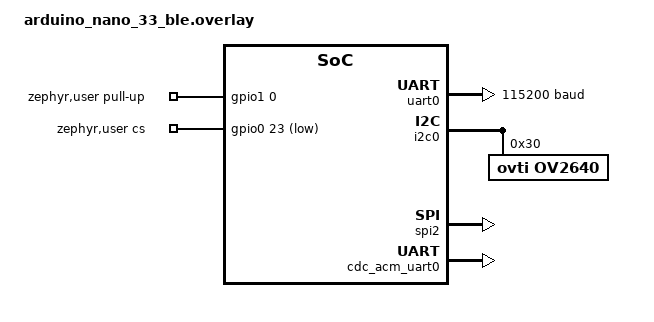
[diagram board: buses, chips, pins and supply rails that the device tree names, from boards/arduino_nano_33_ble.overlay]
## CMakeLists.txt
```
# License: Apache-2.0

cmake_minimum_required(VERSION 3.20.0)
find_package(Zephyr REQUIRED HINTS $ENV{ZEPHYR_BASE})
project(digit_recognizer)

# These samples use local static initialization. Since Zephyr doesn't support the
# C++ ABI for thread-safe initialization of local statics and the constructors don't
# appear to require thread safety, we turn it off in the C++ compiler.
set(NO_THREADSAFE_STATICS $<TARGET_PROPERTY:compiler-cpp,no_threadsafe_statics>)
zephyr_compile_options($<$<COMPILE_LANGUAGE:CXX>:${NO_THREADSAFE_STATICS}>)

# Headers
include_directories(include)

# Source files
file(GLOB_RECURSE app_sources
    src/*.c
    src/*.cpp
)

target_sources(app PRIVATE ${app_sources})
```

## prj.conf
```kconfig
# License: Apache-2.0

CONFIG_CPLUSPLUS=y
CONFIG_LIB_CPLUSPLUS=y
CONFIG_NEWLIB_LIBC=y

CONFIG_TENSORFLOW_LITE_MICRO=y
CONFIG_MAIN_STACK_SIZE=2048

CONFIG_USB_DEVICE_STACK=y
CONFIG_USB_DEVICE_PRODUCT="Zephyr"

CONFIG_SERIAL=y
CONFIG_CONSOLE=y
CONFIG_UART_CONSOLE=y
CONFIG_UART_LINE_CTRL=y
CONFIG_GPIO=y
CONFIG_I2C=y
CONFIG_VIDEO=y
CONFIG_SPI=y
CONFIG_VIDEO_OV2640=y
```

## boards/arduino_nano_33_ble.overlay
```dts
/*
 * Copyright (c) 2019, Linaro Ltd.
 *
 * SPDX-License-Identifier: Apache-2.0
 */
/{
	zephyr,user {
		/* I2C pull-ups are connected to VDD via pin voltage level */
		pull-up-gpios = <&gpio1 0 GPIO_ACTIVE_HIGH>;
		cs-gpios = <&gpio0 23 GPIO_ACTIVE_LOW>;
	};
	chosen {
		zephyr,console = &cdc_acm_uart0;
	};
};

&uart0 {
	compatible = "nordic,nrf-uarte";
	current-speed = <115200>;
	status = "okay";
	pinctrl-0 = <&uart0_default>;
	pinctrl-1 = <&uart0_sleep>;
	pinctrl-names = "default", "sleep";
};

&i2c0 {
	compatible = "nordic,nrf-twi";
	status = "okay";

	ov2640@30 {
		compatible = "ovti,ov2640";
		reg = <0x30>;
		label = "OV2640";
	};
};

arduino_spi: &spi2 {
	compatible = "nordic,nrf-spi";
	status = "okay";
	label = "SPI2";
	pinctrl-0 = <&spi2_default>;
	pinctrl-1 = <&spi2_sleep>;
	pinctrl-names = "default", "sleep";
};

&zephyr_udc0 {
	cdc_acm_uart0: cdc_acm_uart0 {
		compatible = "zephyr,cdc-acm-uart";
		label = "CDC_ACM_0";
	};
};
```

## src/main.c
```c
/*
 * Licensed under the Apache License, Version 2.0 (the "License");
 * you may not use this file except in compliance with the License.
 * You may obtain a copy of the License at
 *
 *     http://www.apache.org/licenses/LICENSE-2.0
 *
 * Unless required by applicable law or agreed to in writing, software
 * distributed under the License is distributed on an "AS IS" BASIS,
 * WITHOUT WARRANTIES OR CONDITIONS OF ANY KIND, either express or implied.
 * See the License for the specific language governing permissions and
 * limitations under the License.
 */

#include "main_functions.h"

/* This is the default main used on systems that have the standard C entry
 * point. Other devices (for example FreeRTOS or ESP32) that have different
 * requirements for entry code (like an app_main function) should specialize
 * this main.cc file in a target-specific subfolder.
 */
int main(int argc, char *argv[])
{
	/* Standard Arduino-compatible loop. */
	setup();
	while (1) {
		loop();
	}
	return 0;
}
```

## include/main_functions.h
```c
/*
 * Licensed under the Apache License, Version 2.0 (the "License");
 * you may not use this file except in compliance with the License.
 * You may obtain a copy of the License at
 *
 *     http://www.apache.org/licenses/LICENSE-2.0
 *
 * Unless required by applicable law or agreed to in writing, software
 * distributed under the License is distributed on an "AS IS" BASIS,
 * WITHOUT WARRANTIES OR CONDITIONS OF ANY KIND, either express or implied.
 * See the License for the specific language governing permissions and
 * limitations under the License.
 */

#ifndef DIGIT_RECOGNIZER_NANO_MAIN_FUNCTIONS_H_
#define DIGIT_RECOGNIZER_NANO_MAIN_FUNCTIONS_H_

/* Expose a C friendly interface for main functions. */
#ifdef __cplusplus
extern "C" {
#endif

/* Initializes all data needed for the example. The name is important, and needs
 * to be setup() for Arduino compatibility.
 */
void setup(void);

/* Runs one iteration of data gathering and inference. This should be called
 * repeatedly from the application code. The name needs to be loop() for Arduino
 * compatibility.
 */
void loop(void);

#ifdef __cplusplus
}
#endif

#endif /* DIGIT_RECOGNIZER_NANO_MAIN_FUNCTIONS_H_ */
```

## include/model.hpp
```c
/*
 * Copyright 2020 The TensorFlow Authors. All Rights Reserved.
 *
 * Licensed under the Apache License, Version 2.0 (the "License");
 * you may not use this file except in compliance with the License.
 * You may obtain a copy of the License at
 *
 *     http://www.apache.org/licenses/LICENSE-2.0
 *
 * Unless required by applicable law or agreed to in writing, software
 * distributed under the License is distributed on an "AS IS" BASIS,
 * WITHOUT WARRANTIES OR CONDITIONS OF ANY KIND, either express or implied.
 * See the License for the specific language governing permissions and
 * limitations under the License.
 */

/* Automatically created from a TensorFlow Lite flatbuffer using the command:
 * xxd -i model.tflite > model.cc
 *
 * This one was copied from the Jupyter Notebook provided with the sourcecode.
 */

#ifndef TENSORFLOW_LITE_MICRO_EXAMPLES_HELLO_WORLD_MODEL_H_
#define TENSORFLOW_LITE_MICRO_EXAMPLES_HELLO_WORLD_MODEL_H_

extern const unsigned char g_model[];
extern const int g_model_len;

#endif /* TENSORFLOW_LITE_MICRO_EXAMPLES_HELLO_WORLD_MODEL_H_ */
```

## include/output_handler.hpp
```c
/*
 * Licensed under the Apache License, Version 2.0 (the "License");
 * you may not use this file except in compliance with the License.
 * You may obtain a copy of the License at
 *
 *     http://www.apache.org/licenses/LICENSE-2.0
 *
 * Unless required by applicable law or agreed to in writing, software
 * distributed under the License is distributed on an "AS IS" BASIS,
 * WITHOUT WARRANTIES OR CONDITIONS OF ANY KIND, either express or implied.
 * See the License for the specific language governing permissions and
 * limitations under the License.
 */

#ifndef DIGIT_RECOGNIZER_NANO_OUTPUT_HANDLER_H_
#define DIGIT_RECOGNIZER_NANO_OUTPUT_HANDLER_H_

#include <tensorflow/lite/c/common.h>
#include <tensorflow/lite/micro/micro_error_reporter.h>

/* Called by the main loop to produce some output based on the x and y values */
void HandleOutput(tflite::ErrorReporter *error_reporter, float x_value, float y_value);

#endif /* DIGIT_RECOGNIZER_NANO_OUTPUT_HANDLER_H_ */
```

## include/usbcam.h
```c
/*
 * License: Apache-2.0.
 */

#ifndef DIGIT_RECOGNIZER_NANO_USBCAM_INTERFACE_H
#define DIGIT_RECOGNIZER_NANO_USBCAM_INTERFACE_H

#include <stddef.h>
#include <stdint.h>

#include <zephyr/device.h>
#include <zephyr/drivers/gpio.h>
#include <zephyr/drivers/spi.h>

#ifdef __cplusplus
extern "C" {
#endif

/* 1000 msec = 1 sec */
#define SLEEP_TIME_MS	 1000
#define ZEPHYR_USER_NODE DT_PATH(zephyr_user)
#define SPI_NODE	 DT_NODELABEL(spi2)

/* Capture JPEG image from camera into buffer.
 * Returns 0 on success, or negative error code.
 */
int capture_jpeg_frame(uint8_t *buffer, size_t max_size, size_t *actual_size);

#ifdef __cplusplus
}
#endif

#endif /* DIGIT_RECOGNIZER_NANO_USBCAM_INTERFACE_H */
```

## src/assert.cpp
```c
/*
 * Licensed under the Apache License, Version 2.0 (the "License");
 * you may not use this file except in compliance with the License.
 * You may obtain a copy of the License at
 *
 *     http://www.apache.org/licenses/LICENSE-2.0
 *
 * Unless required by applicable law or agreed to in writing, software
 * distributed under the License is distributed on an "AS IS" BASIS,
 * WITHOUT WARRANTIES OR CONDITIONS OF ANY KIND, either express or implied.
 * See the License for the specific language governing permissions and
 * limitations under the License.
 */

extern "C" {

void __assert_func(const char *, int, const char *, const char *) {}
}
```

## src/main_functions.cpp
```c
/*
 * Licensed under the Apache License, Version 2.0 (the "License");
 * you may not use this file except in compliance with the License.
 * You may obtain a copy of the License at
 *
 *     http://www.apache.org/licenses/LICENSE-2.0
 *
 * Unless required by applicable law or agreed to in writing, software
 * distributed under the License is distributed on an "AS IS" BASIS,
 * WITHOUT WARRANTIES OR CONDITIONS OF ANY KIND, either express or implied.
 * See the License for the specific language governing permissions and
 * limitations under the License.
 */

#include "main_functions.h"
#include "usbcam.h"

#include "model.hpp"
#include "output_handler.hpp"
#include <tensorflow/lite/micro/all_ops_resolver.h>
#include <tensorflow/lite/micro/micro_error_reporter.h>
#include <tensorflow/lite/micro/micro_interpreter.h>
#include <tensorflow/lite/micro/system_setup.h>
#include <tensorflow/lite/schema/schema_generated.h>

/* Globals, used for compatibility with Arduino-style sketches. */
namespace
{
tflite::ErrorReporter *error_reporter = nullptr;
const tflite::Model *model = nullptr;
tflite::MicroInterpreter *interpreter = nullptr;
TfLiteTensor *input = nullptr;
TfLiteTensor *output = nullptr;

// TODO: update to our model, check how much can NANO's RAM handle
constexpr int kTensorArenaSize = 2000;
uint8_t tensor_arena[kTensorArenaSize];
} /* namespace */

/* The name of this function is important for Arduino compatibility. */
void setup(void)
{
	/* Set up logging. Google style is to avoid globals or statics because of
	 * lifetime uncertainty, but since this has a trivial destructor it's okay.
	 * NOLINTNEXTLINE(runtime-global-variables)
	 */
	static tflite::MicroErrorReporter micro_error_reporter;

	error_reporter = &micro_error_reporter;

	/* Map the model into a usable data structure. This doesn't involve any
	 * copying or parsing, it's a very lightweight operation.
	 */
	model = tflite::GetModel(g_model);
	if (model->version() != TFLITE_SCHEMA_VERSION) {
		TF_LITE_REPORT_ERROR(error_reporter,
				     "Model provided is schema version %d not equal "
				     "to supported version %d.",
				     model->version(), TFLITE_SCHEMA_VERSION);
		return;
	}

	/* This pulls in all the operation implementations we need.
	 * NOLINTNEXTLINE(runtime-global-variables)
	 */
	static tflite::AllOpsResolver resolver;

	/* Build an interpreter to run the model with. */
	static tflite::MicroInterpreter static_interpreter(model, resolver, tensor_arena,
							   kTensorArenaSize, error_reporter);
	interpreter = &static_interpreter;

	/* Allocate memory from the tensor_arena for the model's tensors. */
	TfLiteStatus allocate_status = interpreter->AllocateTensors();
	if (allocate_status != kTfLiteOk) {
		TF_LITE_REPORT_ERROR(error_reporter, "AllocateTensors() failed");
		return;
	}

	/* Obtain pointers to the model's input and output tensors. */
	input = interpreter->input(0);
	output = interpreter->output(0);
}

/* The name of this function is important for Arduino compatibility. */
void loop(void)
{
	// TODO: get JPEG from the camera.

	// TODO: change quantization, change data to be usable with the NN.

	/* Quantize the input from floating-point to integer */
	int8_t x_quantized = x / input->params.scale + input->params.zero_point;
	/* Place the quantized input in the model's input tensor */
	input->data.int8[0] = x_quantized;

	/* Run inference, and report any error */
	TfLiteStatus invoke_status = interpreter->Invoke();
	if (invoke_status != kTfLiteOk) {
		TF_LITE_REPORT_ERROR(error_reporter, "Invoke failed on x: %f\n",
				     static_cast<double>(x));
		return;
	}

	/* Obtain the quantized output from model's output tensor */
	int8_t y_quantized = output->data.int8[0];
	/* Dequantize the output from integer to floating-point */
	float y = (y_quantized - output->params.zero_point) * output->params.scale;

	// TODO: get max value from softmax, output as int, change HandleOutput

	/* Output the results. A custom HandleOutput function can be implemented
	 * for each supported hardware target.
	 */
	HandleOutput(error_reporter, x, y);
}
```

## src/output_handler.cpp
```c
/*
 * Licensed under the Apache License, Version 2.0 (the "License");
 * you may not use this file except in compliance with the License.
 * You may obtain a copy of the License at
 *
 *     http://www.apache.org/licenses/LICENSE-2.0
 *
 * Unless required by applicable law or agreed to in writing, software
 * distributed under the License is distributed on an "AS IS" BASIS,
 * WITHOUT WARRANTIES OR CONDITIONS OF ANY KIND, either express or implied.
 * See the License for the specific language governing permissions and
 * limitations under the License.
 */

#include "output_handler.hpp"

void HandleOutput(tflite::ErrorReporter *error_reporter, float x_value, float y_value)
{
	/* Log the current X and Y values */
	TF_LITE_REPORT_ERROR(error_reporter, "x_value: %f, y_value: %f\n",
			     static_cast<double>(x_value), static_cast<double>(y_value));
}
```

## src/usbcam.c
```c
/*
 * Licensed under the Apache License, Version 2.0 (the "License");
 * you may not use this file except in compliance with the License.
 * You may obtain a copy of the License at
 *
 *     http://www.apache.org/licenses/LICENSE-2.0
 *
 * Unless required by applicable law or agreed to in writing, software
 * distributed under the License is distributed on an "AS IS" BASIS,
 * WITHOUT WARRANTIES OR CONDITIONS OF ANY KIND, either express or implied.
 * See the License for the specific language governing permissions and
 * limitations under the License.
 */

#include "usbcam.h"

#include <errno.h>

#include <zephyr/device.h>
#include <zephyr/devicetree.h>
#include <zephyr/drivers/gpio.h>
#include <zephyr/drivers/sensor.h>
#include <zephyr/drivers/spi.h>
#include <zephyr/drivers/uart.h>
#include <zephyr/drivers/video.h>
#include <zephyr/kernel.h>
#include <zephyr/usb/usb_device.h>

BUILD_ASSERT(DT_NODE_HAS_COMPAT(DT_CHOSEN(zephyr_console), zephyr_cdc_acm_uart),
	     "Console device is not ACM CDC UART device");

static const struct gpio_dt_spec cs_gpio = GPIO_DT_SPEC_GET(ZEPHYR_USER_NODE, cs_gpios);

static uint8_t data;

static int write_bytes(const struct device *spi, struct spi_config *spi_cfg, uint8_t addr,
		       uint8_t *data, uint32_t num_bytes)
{
	uint8_t cmd[] = {addr | 0x80, *data};
	const struct spi_buf tx_buf = {.buf = cmd, .len = sizeof(cmd)};
	const struct spi_buf_set tx = {.buffers = &tx_buf, .count = 1};

	return spi_write(spi, spi_cfg, &tx);
}

static int read_bytes(const struct device *spi, struct spi_config *spi_cfg, uint8_t addr,
		      uint8_t *data, uint32_t num_bytes)
{
	const struct spi_buf tx_buf = {.buf = &addr, .len = 1};
	const struct spi_buf_set tx = {.buffers = &tx_buf, .count = 1};
	struct spi_buf rx_buf[2];
	const struct spi_buf_set rx = {.buffers = rx_buf, .count = ARRAY_SIZE(rx_buf)};

	rx_buf[0].buf = NULL;
	rx_buf[0].len = 1;

	addr = addr & 0x7f;
	rx_buf[1].buf = &data[0];
	rx_buf[1].len = 1;

	return spi_transceive(spi, spi_cfg, &tx, &rx);
}

uint32_t read_fifo_length(const struct device *spi, struct spi_config *spi_cfg)
{
	uint32_t len1, len2, len3, length = 0;
	uint8_t data;

	read_bytes(spi, spi_cfg, 0x42, &data, 1);
	len1 = data;
	len2 = read_bytes(spi, spi_cfg, 0x43, &data, 1);
	len2 = data;
	len3 = read_bytes(spi, spi_cfg, 0x44, &data, 1);
	len3 = data;
	length = ((len3 << 16) | (len2 << 8) | len1) & 0x07fffff;

	return length;
}

int capture_jpeg_frame(uint8_t *buffer, size_t max_size, size_t *actual_size)
{
	int ret;
	int err;
	struct video_format fmt;
	struct video_caps caps;
	int i = 0;
	uint32_t length;
	uint8_t temp = 0, lasttemp = 0;
	int idx = 0;
	const struct device *spi = device_get_binding("SPI2");
	const struct device *dev1 = DEVICE_DT_GET_ONE(ovti_ov2640);
	const struct device *video;
	const struct device *dev = DEVICE_DT_GET(DT_CHOSEN(zephyr_console));
	uint32_t dtr = 0;

	// TODO: some of this should probably be split into a different init function,
	// which would be called from setup().

	if (usb_enable(NULL)) {
		return -ENODEV;
	}

	/* Poll if the DTR flag was set */
	while (!dtr) {
		uart_line_ctrl_get(dev, UART_LINE_CTRL_DTR, &dtr);
		/* Give CPU resources to low priority threads. */
		k_sleep(K_MSEC(100));
	}

	if (dev1 == NULL) {
		printk("\nError: no device found.\n");
		return -ENODEV;
	}

	if (!device_is_ready(dev1)) {
		printk("\nError: Device \"%s\" is not ready; "
		       "check the driver initialization logs for errors.\n",
		       dev1->name);
		return -ENODEV;
	}

	printk("Found device \"%s\", getting sensor data\n", dev1->name);
	video = dev1;
	struct spi_config spi_cfg = {0};
	if (!device_is_ready(spi)) {
		printk("SPI device %s is not ready\n", spi->name);
		return -ENODEV;
	}
	/* Get capabilities */
	if (video_get_caps(video, VIDEO_EP_OUT, &caps)) {
		printk("Unable to retrieve video capabilities");
		return -ENODEV;
	}

	printk("- Capabilities:\n");
	while (caps.format_caps[i].pixelformat) {
		const struct video_format_cap *fcap = &caps.format_caps[i];
		/* fourcc to string */
		printk("  %c%c%c%c width [%u; %u; %u] height [%u; %u; %u]\n",
		       (char)fcap->pixelformat, (char)(fcap->pixelformat >> 8),
		       (char)(fcap->pixelformat >> 16), (char)(fcap->pixelformat >> 24),
		       fcap->width_min, fcap->width_max, fcap->width_step, fcap->height_min,
		       fcap->height_max, fcap->height_step);
		i++;
	}

	/* set default/init format SVGA RGB565 */
	fmt.pixelformat = VIDEO_PIX_FMT_JPEG;
	fmt.width = 320;
	fmt.height = 240;
	fmt.pitch = 320 * 2;

	/*fmt.pixelformat = VIDEO_PIX_FMT_RGB565;
	fmt.width = 160;
	fmt.height = 120;
	fmt.pitch = 160*2;*/

	ret = video_set_format(video, VIDEO_EP_OUT, &fmt);
	if (ret) {
		printk("Unable to configure format");
		return -EIO;
	}
	/* Get default/native format */
	if (video_get_format(video, VIDEO_EP_OUT, &fmt)) {
		printk("Unable to retrieve video format");
		return -EIO;
	}

	printk("- Default format: %c%c%c%c %ux%u\n", (char)fmt.pixelformat,
	       (char)(fmt.pixelformat >> 8), (char)(fmt.pixelformat >> 16),
	       (char)(fmt.pixelformat >> 24), fmt.width, fmt.height);

	k_msleep(SLEEP_TIME_MS * 5);

	gpio_pin_configure_dt(&cs_gpio, GPIO_OUTPUT_ACTIVE);

	spi_cfg.operation = SPI_WORD_SET(8);
	spi_cfg.frequency = 4000000U;
	spi_cfg.slave = 0;
	struct spi_cs_control cs_ctrl = (struct spi_cs_control){
		.gpio = GPIO_DT_SPEC_GET(ZEPHYR_USER_NODE, cs_gpios),
		.delay = 0u,
	};
	spi_cfg.cs = &cs_ctrl;

	data = 0x55;
	write_bytes(spi, &spi_cfg, 0x00, &data, 1);
	read_bytes(spi, &spi_cfg, 0x00, &data, 1);
	if (data != 0x55) {
		printk("Error to writing and reading reg 0x00\n");
		return -EIO;
	}

	data = 0x01;
	write_bytes(spi, &spi_cfg, 0x04, &data, 1);

	data = 0x01;
	err = write_bytes(spi, &spi_cfg, 0x04, &data, 1);

	data = 0x02;
	err = write_bytes(spi, &spi_cfg, 0x04, &data, 1);

	data = 0;
	read_bytes(spi, &spi_cfg, 0x41, &data, 1);
	while (!(data & 0x08)) {
		read_bytes(spi, &spi_cfg, 0x41, &data, 1);
	}

	printk("Frame captured");

	length = read_fifo_length(spi, &spi_cfg);
	printk("Data length=%d\n", length);
	if (length > max_size) {
		printk("Frame too large: %u > %zu\n", length, max_size);
		return -ENOMEM;
	}

	// NOTE: previous loop threw out the 1st byte and didn't check for length.
	// TODO: check if this one works well.
	while (1) {
		lasttemp = temp;
		read_bytes(spi, &spi_cfg, 0x3C, &temp, 1);
		buffer[index++] = temp;

		if (lasttemp == 0xFF && temp == 0xD9) {
			break;
		}

		if (index >= max_size) {
			printk("Buffer overflow\n");
			return -ENOMEM;
		}
	}
}
```
